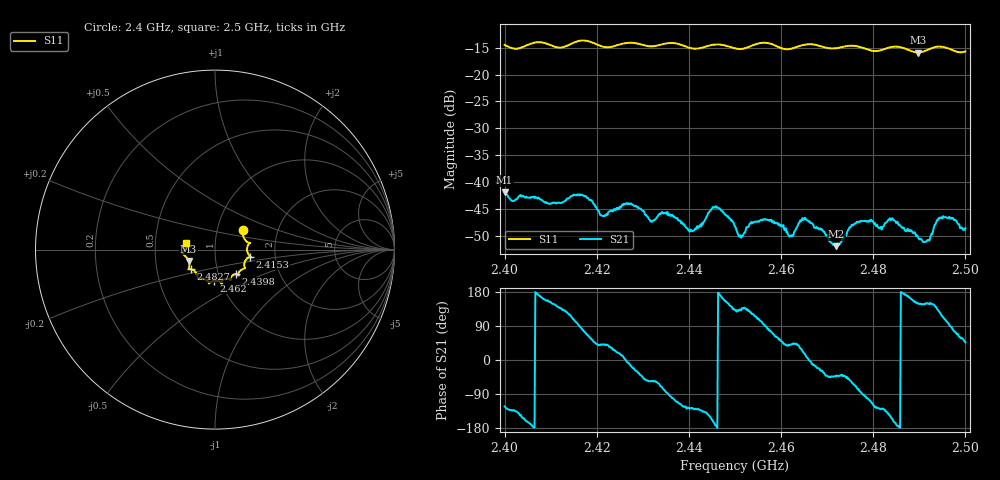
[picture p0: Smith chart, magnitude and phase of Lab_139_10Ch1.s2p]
# Hz S RI R 50
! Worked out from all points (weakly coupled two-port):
!   601 points, 2.4 GHz to 2.5 GHz, reference 50 ohm
!   highest |S21| = -41.83 dB at 2.4 GHz (marker M1); lowest = -51.9 dB at 2.472 GHz (marker M2)
!   lowest |S11| = -15.9 dB at 2.4897 GHz (marker M3), VSWR 1.38, Z = 36.9 - j4.82 ohm
!   |S11| at or under -10 dB: start of sweep to end of sweep
!   S12 and S22 are empty: the file has one direction only
!   S11 on the Smith chart (normalised r, x): 2.4 GHz: 1.33, +0.29; 2.4153 GHz: 1.48, -0.12; 2.4398 GHz: 1.21, -0.34; 2.462 GHz: 0.93, -0.33; 2.4827 GHz: 0.75, -0.17; 2.5 GHz: 0.72, +0.06
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2.4e9  0.1552 0.1066  -0.00435 -0.00683  0 0  0 0
2.415333e9  0.1967 -0.0388  -0.00157 0.00744  0 0  0 0
2.416667e9  0.2025 -0.0428  0.000785 0.00762  0 0  0 0
2.421333e9  0.1724 -0.0564  0.00366 0.00319  0 0  0 0
2.426833e9  0.1684 -0.1027  0.00634 -0.000895  0 0  0 0
2.433333e9  0.1308 -0.1337  0.00234 -0.00432  0 0  0 0
2.439833e9  0.1155 -0.1361  -0.00209 -0.00295  0 0  0 0
2.445667e9  0.0844 -0.1701  -0.00577 -0.000897  0 0  0 0
2.45e9  0.0654 -0.1624  -0.0026 0.00287  0 0  0 0
2.451333e9  0.0505 -0.1653  -0.00199 0.00231  0 0  0 0
2.457333e9  0.0391 -0.1914  0.000682 0.00442  0 0  0 0
2.462e9  -0.00518 -0.173  0.00242 0.00206  0 0  0 0
2.464667e9  -0.0312 -0.1851  0.00428 0.00182  0 0  0 0
2.466667e9  -0.0342 -0.1882  0.0041 -0.000718  0 0  0 0
2.472e9  -0.0697 -0.1613  0.0019 -0.0017  0 0  0 0
2.4765e9  -0.0953 -0.1562  0.00119 -0.00414  0 0  0 0
2.482667e9  -0.1351 -0.1093  -0.00299 -0.00295  0 0  0 0
2.483333e9  -0.1403 -0.109  -0.00365 -0.00267  0 0  0 0
2.489667e9  -0.1469 -0.0636  -0.0027 0.00156  0 0  0 0
2.491833e9  -0.1661 -0.0359  -0.0025 0.00144  0 0  0 0
2.495e9  -0.1801 -0.0196  -0.00194 0.00418  0 0  0 0
2.5e9  -0.1593 0.0388  0.00257 0.00273  0 0  0 0
